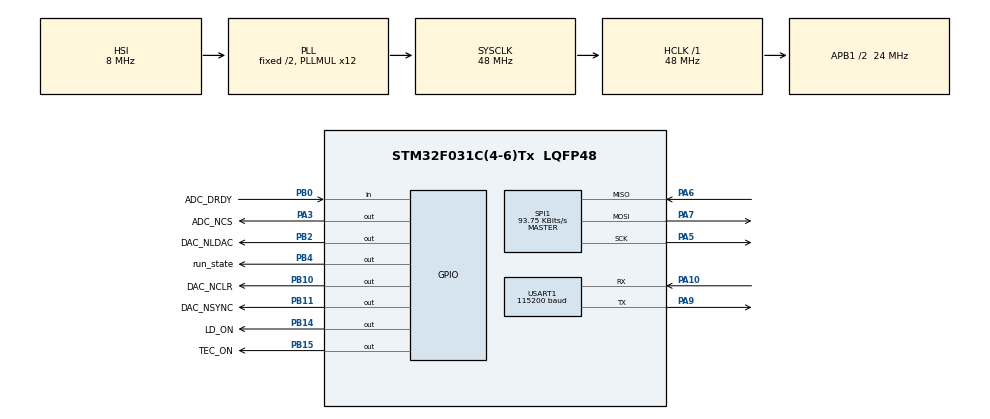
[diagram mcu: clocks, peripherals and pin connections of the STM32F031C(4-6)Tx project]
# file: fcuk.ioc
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Dma.Request0=USART1_RX
Dma.Request1=USART1_TX
Dma.USART1_RX.0.Direction=DMA_PERIPH_TO_MEMORY
Dma.USART1_RX.0.Instance=DMA1_Channel3
Dma.USART1_RX.0.MemDataAlignment=DMA_MDATAALIGN_BYTE
Dma.USART1_RX.0.MemInc=DMA_MINC_ENABLE
Dma.USART1_RX.0.Mode=DMA_NORMAL
Dma.USART1_RX.0.PeriphDataAlignment=DMA_PDATAALIGN_BYTE
Dma.USART1_RX.0.PeriphInc=DMA_PINC_DISABLE
Dma.USART1_RX.0.Priority=DMA_PRIORITY_LOW
Dma.USART1_TX.1.Direction=DMA_MEMORY_TO_PERIPH
Dma.USART1_TX.1.Instance=DMA1_Channel2
Dma.USART1_TX.1.MemDataAlignment=DMA_MDATAALIGN_BYTE
Dma.USART1_TX.1.MemInc=DMA_MINC_ENABLE
Dma.USART1_TX.1.Mode=DMA_NORMAL
Dma.USART1_TX.1.PeriphDataAlignment=DMA_PDATAALIGN_BYTE
Dma.USART1_TX.1.PeriphInc=DMA_PINC_DISABLE
Dma.USART1_TX.1.Priority=DMA_PRIORITY_LOW
Mcu.Family=STM32F0
Mcu.Name=STM32F031C(4-6)Tx
Mcu.Package=LQFP48
NVIC.DMA1_Channel2_3_IRQn=true\:0\:0\:false\:false\:true\:false\:true\:true
NVIC.TIM16_IRQn=true\:0\:0\:false\:false\:true\:true\:true\:true
NVIC.USART1_IRQn=true\:0\:0\:false\:false\:true\:true\:true\:true
PA10.Mode=Asynchronous
PA10.Signal=USART1_RX
PA13.Mode=Serial_Wire
PA13.Signal=SYS_SWDIO
PA14.Mode=Serial_Wire
PA14.Signal=SYS_SWCLK
PA3.GPIO_Label=ADC_NCS
PA3.GPIO_PuPd=GPIO_PULLUP
PA3.GPIO_Speed=GPIO_SPEED_FREQ_HIGH
PA3.PinState=GPIO_PIN_SET
PA3.Signal=GPIO_Output
PA5.Mode=Full_Duplex_Master
PA5.Signal=SPI1_SCK
PA6.Mode=Full_Duplex_Master
PA6.Signal=SPI1_MISO
PA7.Mode=Full_Duplex_Master
PA7.Signal=SPI1_MOSI
PA9.Mode=Asynchronous
PA9.Signal=USART1_TX
PB0.GPIO_Label=ADC_DRDY
PB0.GPIO_PuPd=GPIO_PULLUP
PB0.Signal=GPIO_Input
PB10.GPIO_Label=DAC_NCLR
PB10.GPIO_PuPd=GPIO_PULLUP
PB10.PinState=GPIO_PIN_SET
PB10.Signal=GPIO_Output
PB11.GPIO_Label=DAC_NSYNC
PB11.GPIO_PuPd=GPIO_PULLUP
PB11.GPIO_Speed=GPIO_SPEED_FREQ_HIGH
PB11.PinState=GPIO_PIN_SET
PB11.Signal=GPIO_Output
PB14.GPIO_Label=LD_ON
PB14.GPIO_PuPd=GPIO_NOPULL
PB14.Signal=GPIO_Output
PB15.GPIO_Label=TEC_ON
PB15.GPIO_PuPd=GPIO_NOPULL
PB15.Signal=GPIO_Output
PB2.GPIO_Label=DAC_NLDAC
PB2.GPIO_PuPd=GPIO_PULLUP
PB2.GPIO_Speed=GPIO_SPEED_FREQ_LOW
PB2.PinState=GPIO_PIN_SET
PB2.Signal=GPIO_Output
PB4.GPIO_Label=run_state
PB4.Signal=GPIO_Output
ProjectManager.HeapSize=0x200
ProjectManager.StackSize=0x400
ProjectManager.TargetToolchain=MDK-ARM V5.32
RCC.AHBFreq_Value=48000000
RCC.APB1CLKDivider=RCC_HCLK_DIV2
RCC.APB1Freq_Value=24000000
RCC.APB1TimFreq_Value=48000000
RCC.HCLKFreq_Value=48000000
RCC.PLLMUL=RCC_PLL_MUL12
RCC.SYSCLKFreq_VALUE=48000000
RCC.SYSCLKSource=RCC_SYSCLKSOURCE_PLLCLK
RCC.Usart1ClockSelection=RCC_USART1CLKSOURCE_SYSCLK
SPI1.BaudRatePrescaler=SPI_BAUDRATEPRESCALER_256
SPI1.CLKPhase=SPI_PHASE_2EDGE
SPI1.CalculateBaudRate=93.75 KBits/s
SPI1.DataSize=SPI_DATASIZE_8BIT
SPI1.Direction=SPI_DIRECTION_2LINES
SPI1.Mode=SPI_MODE_MASTER
SPI1.VirtualType=VM_MASTER
TIM16.Period=1000
TIM16.Prescaler=720
USART1.BaudRate=115200
USART1.VirtualMode-Asynchronous=VM_ASYNC
VP_TIM16_VS_ClockSourceINT.Mode=Enable_Timer
VP_TIM2_VS_ClockSourceINT.Mode=Internal
VP_TIM3_VS_ClockSourceINT.Mode=Internal
board=custom

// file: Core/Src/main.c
/* USER CODE BEGIN Header */
#define TEC_ON	HAL_GPIO_WritePin(GPIOB, GPIO_PIN_15, GPIO_PIN_SET)
#define LD_ON		HAL_GPIO_WritePin(GPIOB, GPIO_PIN_14, GPIO_PIN_SET)
#define TEC_OFF	HAL_GPIO_WritePin(GPIOB, GPIO_PIN_15, GPIO_PIN_RESET)
#define LD_OFF	HAL_GPIO_WritePin(GPIOB, GPIO_PIN_14, GPIO_PIN_RESET)
#define DMA_BUF_SIZE	512

/**
  ******************************************************************************
  * @file           : main.c
  * @brief          : Main program body
  ******************************************************************************
  * @attention
  *
  * Copyright (c) 2022 STMicroelectronics.
  * All rights reserved.
  *
  * This software is licensed under terms that can be found in the LICENSE file
  * in the root directory of this software component.
  * If no LICENSE file comes with this software, it is provided AS-IS.
  *
  ******************************************************************************
  */
/* USER CODE END Header */
#include "main.h"
#include "dma.h"
#include "spi.h"
#include "tim.h"
#include "usart.h"
#include "gpio.h"

/* USER CODE BEGIN Includes */
#include "ads1120.h"
#include "DAC8563.h"
/* USER CODE END Includes */

void SystemClock_Config(void);

/* USER CODE BEGIN 0 */
void uart_print(u8 data);
void LD_Init();

//协议命令定义,保持等长指令,�?后一位是校验�?
u8 cmd_len = 8;
u8 CMD_LD_OPEN[] 		 			= {0xEF, 0xEF, 0x03, 0xFF, 0x04, 0x00, 0x00, 0xE4};
u8 CMD_LD_OFF[]  		 			= {0xEF, 0xEF, 0x03, 0xFF, 0x05, 0x00, 0x00, 0xE5};
u8 CMD_LD_SET_CURR[] 			= {0xEF, 0xEF, 0x05, 0xFF, 0x00, 0x00, 0x00, 0xE4}; //第五位为设置值高八位，第六位为低八位
u8 CMD_LD_GET_CURR[] 			= {0xEF, 0xEF, 0x03, 0xFF, 0x01, 0x00, 0x00, 0xE1};
u8 CMD_LD_SET_TEMP[] 			= {0xEF, 0xEF, 0x04, 0xFF, 0x00, 0x00, 0x00, 0xE4};
u8 CMD_LD_GET_TEMP[] 			= {0xEF, 0xEF, 0x03, 0xFF, 0x02, 0x00, 0x00, 0xE2};
u8 CMD_LD_SET_CURR_MAX[] 	= {0xEF, 0xEF, 0x06, 0xFF, 0x00, 0x00, 0x00, 0xE4};	//设置�?大设置电�?
u8 CMD_LD_GET_PD1[]				= {0xEF, 0xEF, 0x03, 0xFF, 0x03, 0x00, 0x00, 0xE3};
u8 CMD_LD_GET_PD2[]				= {0xEF, 0xEF, 0x03, 0xFF, 0x06, 0x00, 0x00, 0xE6};

//返回值保持等�?
u8 return_len = 5;
u8 LD_OPEN_RETURN[] 					= {0xEF, 0x04, 0x01, 0x00, 0xEF};
u8 LD_OFF_RETURN[]  					= {0xEF, 0x05, 0x00, 0x00, 0xEF};
u8 LD_SET_CURR_RETURN[] 			= {0xEF, 0x00, 0x05, 0x00, 0xEF};	//第三位为设置状�??
u8 LD_SET_CURR_OF_RETURN[] 		= {0xEF, 0x00, 0x05, 0x01, 0xEF};	//超出�?大设置范�?
u8 LD_SET_CURR_NOTON_RETURN[] = {0xEF, 0x00, 0x05, 0xFF, 0xEF};	//LD没开
u8 LD_SET_TEMP_RETURN[] 			= {0xEF, 0x00, 0x04, 0x00, 0xEF};
u8 LD_GET_CURR_RETURN[] 			= {0xEF, 0x01, 0x00, 0x00, 0xEF};
u8 LD_GET_TEMP_RETURN[] 			= {0xEF, 0x02, 0x00, 0x00, 0xEF};
u8 LD_GET_PD1_RETURN[] 				= {0xEF, 0x03, 0x00, 0x00, 0xEF};
u8 LD_GET_PD2_RETURN[] 				= {0xEF, 0x06, 0x00, 0x00, 0xEF};
u8 LD_SET_MAXCUR_RETURN[]			=	{0xEF, 0x00, 0x06, 0x00, 0xEF};

u8 LD_SET_OUTMODE_RETURN[]		=	{0xEF, 0x07, 0x00, 0x00, 0xEF};
u8 LD_SET_PDSRC_RETURN[]			=	{0xEF, 0x08, 0x00, 0x00, 0xEF};
u8 LD_PD_ERR_RETURN[]					=	{0xEF, 0xFF, 0x00, 0x00, 0xEF};

u8 VALUE_RETURN[5];

// 变量定义
u8 	uart_revbuff[DMA_BUF_SIZE];
u32 rx_len;
u8 	rev_end_flag;
u8 	frame_tail;
u8 	i;
u16 temp_get, curr_get, curr_set, pd1_get, pd2_get;
u8 	value_high_8bit, value_low_8bit;

u8 output_update_en = 0;
u8 output_mode;

u8 pid_update;

u8 IS_ON = 0;
u16 max_cur;	//�?大设置电流，默认为最大，1.5A

//用于进入分支语句，处理不同的指令请求
const u8 get_cur 		= 0x01;
const u8 get_temp 	= 0x02;
const u8 ld_on 			= 0x04;
const u8 ld_off 		= 0x05;
const u8 set_value	= 0x00;
const u8 set_cur 		= 0x05;
const u8 set_maxcur = 0x06;
const u8 set_temp 	= 0x04;
const u8 get_pd1		=	0x03;
const u8 get_pd2		=	0x06;

const u8 out_mode_sel  	= 0x07;
const u8 pd_select  		= 0x08;

u8 send_test[1];

// ********  PID恒定功率输出   **********************
//结构体定�?
struct _pid{
	u16 SetValue;				//定义设定�?
	float ActualValue;		//定义实际�?
	float err;						//定义偏差�?
	float err_next;				//定义上一个偏差�??
	float err_last;				//定义�?上前的偏差�??
	u16 max_increment;	//�?大增�?
	u16 max_current; //目标�?大�??
	float Kp, Ki, Kd;			//定义比例、积分�?�微分系�?
	u16 err_div; //反馈量除系数
}pid;

// 实验参数，比�? = PD回读�?/设置电流�?
float	Ratio_pd_cur = 7.714;

// pid功能�?�?
u8 	pid_on = 0;

// 稳定值设�?
u16 pid_set_value = 1;
u16 pd_sample_init;

// 稳定模式选择
u8	mode_sel = 0;
const	u8	MODE_CONST_CUR 		= 0;
const	u8	MODE_CONST_PWR 		= 1;
const	u8	MODE_SAMPLE_HOLD 	= 2;

//	反馈源�?�择
const u8	PD_SEL_INT	= 0;
const u8	PD_SEL_EXT	= 1;
u8	PD_sel = PD_SEL_INT;

// 反馈源异常检�?
u16 pd_value_last, pd_value_pres;
u16 delta_pd_value;
u16 delta_threshold = 1000;
u8 pd_int_err, pd_ext_err; //pd异常标志�?
u8 curr_is_changed = 0;
u16 increment = 0;
u8 pid_zero_counter = 0;

// pid函数
void PD_SRC_ERR_DETECT(void);
void PID_init(void);
void PID_set_value(u16 set_value, u16 curr_set);
u16 PID_PD_feedback(u16 PD_value, u16 cur_set);
u16 PID_const_pw_output(u16 cur_set);

// ************************************************

// debug模式
u8 debug_mode = 0;
u16 dbg_curr;
u16 dbg_pd_int;
u16 dbg_pd_ext;
u8 dbg_curr_low;
u8 dbg_curr_high;
u8 dbg_pd_ext_low;
u8 dbg_pd_ext_high;
u8 dbg_pd_int_low;
u8 dbg_pd_int_high;
//debug模式返回�?
u8 DBG_CURR_RETURN[]	=	{0xAA, 0x55, 0x01, 0x00, 0x00};
u8 DBG_PD_INT_RETURN[]	=	{0xAA, 0x55, 0x02, 0x00, 0x00};
u8 DBG_PD_EXT_RETURN[]	=	{0xAA, 0x55, 0x03, 0x00, 0x00};
void DBG_RETURN(u8 sel);

/* USER CODE END 0 */

int main(void)
{
  /* USER CODE BEGIN 1 */

	u8 test;
  /* USER CODE END 1 */

  /* MCU Configuration--------------------------------------------------------*/

  /* Reset of all peripherals, Initializes the Flash interface and the Systick. */
  HAL_Init();

  /* Configure the system clock */
  SystemClock_Config();

  /* Initialize all configured peripherals */
  MX_GPIO_Init();
  MX_SPI1_Init();
  MX_TIM2_Init();
  MX_TIM3_Init();
  MX_DMA_Init();
  MX_USART1_UART_Init();
  MX_TIM16_Init();
  /* USER CODE BEGIN 2 */

	ADS1120_Init();
	HAL_Delay(1);
	DAC_INIT();
	HAL_Delay(1);
	u16 Vout;
	PID_init();
	LD_Init();

  /* USER CODE END 2 */

  /* Infinite loop */
  /* USER CODE BEGIN WHILE */
  while (1)
  {
		//if(debug_mode) DBG_RETURN(); // debug模式返回

		//curr_get = GET_LD_CURR();
    if(rev_end_flag)
		{
			// ========== 进入debug模式使用，调节pid参数 =========================
			if(uart_revbuff[0] == 0x55 && uart_revbuff[1] == 0xaa)
			{
				if(uart_revbuff[2] == 1)debug_mode = 1;
				else if(uart_revbuff[2] == 0)debug_mode = 0;
				switch(uart_revbuff[2])
					{
						case 0x02:
							pid.Kp = (float)(uart_revbuff[3]*256 + uart_revbuff[4])/1000;
							break;
						case 0x03:
							pid.Ki = (float)(uart_revbuff[3]*256 + uart_revbuff[4])/1000;
							break;
						case 0x04:
							pid.Kd = (float)(uart_revbuff[3]*256 + uart_revbuff[4])/1000;
							break;
						case 0x05:
							pid.err_div = uart_revbuff[3];
							break;
						default: break;
					}
			}
			//===================================================================
			//提示信号收发

			if(uart_revbuff[0] == 0xef && uart_revbuff[1] == 0xef)	//帧头校验
			{
				for(i = 0; i<rx_len-1; i++)										//获取帧尾
				{
					frame_tail = frame_tail + uart_revbuff[i];
				}
				if(frame_tail == uart_revbuff[rx_len-1])			//帧尾校验
				{
					//rev_end_flag = 0;	//标志位置�?
					switch(uart_revbuff[4])
					{
						case get_cur:
							curr_get = GET_LD_CURR();
							value_low_8bit  = curr_get & 0xff;
							value_high_8bit = (curr_get>>8) & 0xff;

							LD_GET_CURR_RETURN[2] = value_high_8bit;
							LD_GET_CURR_RETURN[3] = value_low_8bit;
							HAL_UART_Transmit_DMA(&huart1, LD_GET_CURR_RETURN, return_len);
							break;

						case get_temp:
							temp_get = GET_LD_TEMP();
							value_low_8bit  = temp_get & 0xff;
							value_high_8bit = (temp_get>>8) & 0xff;
							LD_GET_TEMP_RETURN[2] = value_high_8bit;
							LD_GET_TEMP_RETURN[3] = value_low_8bit;

							HAL_UART_Transmit_DMA(&huart1, LD_GET_TEMP_RETURN, return_len);
							break;

						case get_pd1:
							pd1_get = GET_LD_PD_internal();
							value_low_8bit  = pd1_get & 0xff;
							value_high_8bit = (pd1_get>>8) & 0xff;
							LD_GET_PD1_RETURN[2] = value_high_8bit;
							LD_GET_PD1_RETURN[3] = value_low_8bit;
							HAL_UART_Transmit_DMA(&huart1, LD_GET_PD1_RETURN, return_len);
							break;

						case get_pd2:
							pd2_get = GET_LD_PD_external();
							value_low_8bit  = pd2_get & 0xff;
							value_high_8bit = (pd2_get>>8) & 0xff;
							LD_GET_PD2_RETURN[2] = value_high_8bit;
							LD_GET_PD2_RETURN[3] = value_low_8bit;

							HAL_UART_Transmit_DMA(&huart1, LD_GET_PD2_RETURN, return_len);
							break;

						case ld_on:
							LD_ON;
							TEC_ON;
							HAL_GPIO_WritePin(run_state_GPIO_Port, run_state_Pin, GPIO_PIN_SET);
							IS_ON = 1;
							Vout = 0x0000;
							DAC_Set_Voltage(Vout, ADDR_DAC_A);
							HAL_UART_Transmit_DMA(&huart1, LD_OPEN_RETURN, return_len);
							break;

						case ld_off:
							DAC_Set_Current(0x0000, ADDR_DAC_A);
							LD_OFF;
							IS_ON = 0;
							HAL_GPIO_WritePin(run_state_GPIO_Port, run_state_Pin, GPIO_PIN_RESET);

							HAL_UART_Transmit_DMA(&huart1, LD_OFF_RETURN, return_len);
							break;

						case pd_select:
							PD_sel = uart_revbuff[6];
							LD_SET_PDSRC_RETURN[3] = PD_sel;
							LD_PD_ERR_RETURN[3] = PD_sel;
							// �?测所选pd是否异常
							if(pd_ext_err == 1 && PD_sel == PD_SEL_EXT)
							{
								HAL_UART_Transmit_DMA(&huart1, LD_PD_ERR_RETURN, return_len);
							}
							else if(pd_int_err == 1 && PD_sel == PD_SEL_INT)
							{
								HAL_UART_Transmit_DMA(&huart1, LD_PD_ERR_RETURN, return_len);
							}
							else HAL_UART_Transmit_DMA(&huart1, LD_SET_PDSRC_RETURN, return_len);
							break;

						case out_mode_sel:
							mode_sel = uart_revbuff[6];
							if(mode_sel != MODE_CONST_CUR)
							{
								HAL_TIM_Base_Start_IT(&htim16);
								pid_on = 1;
							}
							else
							{
								pid_on = 0;
								HAL_TIM_Base_Stop_IT(&htim16);
							}
							LD_SET_OUTMODE_RETURN[3] = mode_sel;
							HAL_UART_Transmit_DMA(&huart1, LD_SET_OUTMODE_RETURN, return_len);

							break;

						case set_value:
							switch(uart_revbuff[2])
							{
								case set_temp://设置温度
									break;

								case set_cur://设置电流
									if(IS_ON)
									{
										curr_set = uart_revbuff[5];									//设置值高字节
										curr_set = (curr_set<<8) | uart_revbuff[6];	//设置值低字节
										if(curr_set > max_cur) //	�?大设置�?�判�?
										{
											HAL_UART_Transmit_DMA(&huart1, LD_SET_CURR_OF_RETURN, return_len);
											break;
										}

										output_update_en = 1;			//重新设定pid目标�?
										curr_is_changed = 1;			// flag for pd error detection
										DAC_Set_Current(curr_set>>1, ADDR_DAC_A);
										HAL_UART_Transmit_DMA(&huart1, LD_SET_CURR_RETURN, return_len);
										break;
									}
									else
									{
										HAL_UART_Transmit_DMA(&huart1, LD_SET_CURR_NOTON_RETURN, return_len);
										break;
									}

								case set_maxcur:
									max_cur = uart_revbuff[5];									//设置值高字节
									max_cur = (max_cur<<8) | uart_revbuff[6];	  //设置值低字节
									HAL_UART_Transmit_DMA(&huart1, LD_SET_MAXCUR_RETURN, return_len);
									break;
								default:break;

							}
							break;
						default:
							break;
					}
				}
				else
				{
					frame_tail = 0;
					rev_end_flag = 0;
				}
			}
			else
			{
				frame_tail = 0;
				rev_end_flag = 0;
			}
			//重新�?始dma传输
			HAL_UART_Receive_DMA(&huart1, uart_revbuff, DMA_BUF_SIZE);
		}

		// ============ 输出模式选择：恒电流/恒功�?/采样保持 ========================
		if(pid_on)
		{
				// 棿测异常pd
			PD_SRC_ERR_DETECT();
			pd_value_pres = (PD_sel == PD_SEL_INT) ? GET_LD_PD_internal() : GET_LD_PD_external();
			// 更新设置�?
			if(output_update_en)
			{
				//DAC_Set_Voltage(curr_set, ADDR_DAC_A);
				pd_value_pres = (PD_sel == PD_SEL_INT) ? GET_LD_PD_internal() : GET_LD_PD_external();
				switch(mode_sel)
				{
					case MODE_CONST_PWR:
						pid_set_value = (u16)(curr_set * Ratio_pd_cur);
						PID_set_value(pid_set_value, curr_set);
						output_update_en = 0;
						break;
					case MODE_SAMPLE_HOLD:
						pid_set_value = pd_value_pres;
						PID_set_value(pid_set_value, curr_set);
						output_update_en = 0;
						break;
					default:
						output_update_en = 0;
						break;
				}
			}
			else if(pid_update)
			{
				pid_update = 0;
				pd_value_last = pd_value_pres;
				pd_value_pres = (PD_sel == PD_SEL_INT) ? GET_LD_PD_internal() : GET_LD_PD_external();

//				// zero detection
//				if(pd_value_pres<0x1F)
//				{
//					pid_zero_counter++;
//				}
//				if(pid_zero_counter>10)
//				{
//					// no pd feedback
//					HAL_TIM_Base_Stop_IT(&htim16);
//					pid_on = 0;
//					pid_update = 0;
//					pid_zero_counter = 0;
//				}

				// 恒功率输�?,每次循环均调整电流输出�??;集成pd异常�?�?
				increment = PID_PD_feedback(pd_value_pres, curr_set);
				curr_set = ((increment&0xC000) != 0) ? (curr_set - 0xffff + increment) : curr_set + increment;

				if(curr_set > pid.max_current)
				{
					curr_set = pid.max_current;
				}
				DAC_Set_Voltage(curr_set>>1, ADDR_DAC_A);
			}

		}
		// ======================================================================================

    /* USER CODE END WHILE */

  }
}

void SystemClock_Config(void)
{
  RCC_OscInitTypeDef RCC_OscInitStruct = {0};
  RCC_ClkInitTypeDef RCC_ClkInitStruct = {0};
  RCC_PeriphCLKInitTypeDef PeriphClkInit = {0};

  /** Initializes the RCC Oscillators according to the specified parameters
  * in the RCC_OscInitTypeDef structure.
  */
  RCC_OscInitStruct.OscillatorType = RCC_OSCILLATORTYPE_HSI;
  RCC_OscInitStruct.HSIState = RCC_HSI_ON;
  RCC_OscInitStruct.HSICalibrationValue = RCC_HSICALIBRATION_DEFAULT;
  RCC_OscInitStruct.PLL.PLLState = RCC_PLL_ON;
  RCC_OscInitStruct.PLL.PLLSource = RCC_PLLSOURCE_HSI;
  RCC_OscInitStruct.PLL.PLLMUL = RCC_PLL_MUL12;
  RCC_OscInitStruct.PLL.PREDIV = RCC_PREDIV_DIV1;
  if (HAL_RCC_OscConfig(&RCC_OscInitStruct) != HAL_OK)
  {
    Error_Handler();
  }

  /** Initializes the CPU, AHB and APB buses clocks
  */
  RCC_ClkInitStruct.ClockType = RCC_CLOCKTYPE_HCLK|RCC_CLOCKTYPE_SYSCLK
                              |RCC_CLOCKTYPE_PCLK1;
  RCC_ClkInitStruct.SYSCLKSource = RCC_SYSCLKSOURCE_PLLCLK;
  RCC_ClkInitStruct.AHBCLKDivider = RCC_SYSCLK_DIV1;
  RCC_ClkInitStruct.APB1CLKDivider = RCC_HCLK_DIV2;

  if (HAL_RCC_ClockConfig(&RCC_ClkInitStruct, FLASH_LATENCY_1) != HAL_OK)
  {
    Error_Handler();
  }
  PeriphClkInit.PeriphClockSelection = RCC_PERIPHCLK_USART1;
  PeriphClkInit.Usart1ClockSelection = RCC_USART1CLKSOURCE_SYSCLK;
  if (HAL_RCCEx_PeriphCLKConfig(&PeriphClkInit) != HAL_OK)
  {
    Error_Handler();
  }
}

/* USER CODE BEGIN 4 */
void LD_Init(){

	u16 Init_Cur, Init_Temp;
	Init_Cur = 0x0000;
	Init_Temp = 0x7fff;
	LD_OFF;
	TEC_ON;
	DAC_Set_Voltage(Init_Cur, ADDR_DAC_A);
	DAC_Set_Voltage(Init_Temp, ADDR_DAC_B);
	max_cur = 0xFFFF; //限制�?大电�?
}

void uart_print(u8 data){
	u8* send;
	*send = data;
	HAL_UART_Transmit(&huart1, send, 1, 1000);
}

//**********  PID恒定功率输出函数实现 *************************************
// PID 初始�?
void PID_init(){
	pid.SetValue		= 0;
	pid.ActualValue	= 0;
	pid.err					= 0;
	pid.err_last		=	0;
	pid.err_next		=	0;
	pid.Kp					=	0.2;
	pid.Ki					=	0.00000001;
	pid.Kd					=	0.00000001;
	pid.max_increment		= 40;
	pid.max_current	=	0;
	pid.err_div     = 4;
};

// 确定设置�?
void PID_set_value(u16 set_value, u16 curr_set)
{
	pid.SetValue 				= set_value;
	pid.max_current			=	curr_set + 0x1999;
}

// 获取反馈量并调整电流设置�?

u16 PID_PD_feedback(u16 PD_value, u16 cur_set){
	//u16 cur_update = 0x00;
	float incrementValue, dest_value;
	//unsigned int test;
	pid.ActualValue	=	PD_value;
	pid.err 				= (pid.SetValue - pid.ActualValue)/pid.err_div;
  incrementValue 	= pid.Kp*pid.err + pid.Ki*(pid.err+pid.err_next+pid.err_last) + pid.Kd*(pid.err - 2 * pid.err_next + pid.err_last);//计算出增�?
	dest_value			=	cur_set + incrementValue;

	if(incrementValue > pid.max_increment)
	{
		incrementValue = pid.max_increment;
	}
	else if(-incrementValue > (pid.max_increment))
	{
		incrementValue = 0 - pid.max_increment;
	}
	else
	{
		incrementValue = incrementValue;
	}

	pid.err_last 		= pid.err_next;
	pid.err_next 		= pid.err;
	return incrementValue;
}

// PID恒定功率输出实现
u16 PID_const_pw_output(u16 cur_set)
{
	u16 PD_value;
	u16 cur_update;
	PD_value 				= (PD_sel == PD_SEL_INT) ? GET_LD_PD_internal() : GET_LD_PD_external();
	cur_update 				=	PID_PD_feedback(PD_value, cur_set);
	// 设置新电流�??
	//DAC_Set_Current(cur_update, ADDR_DAC_A);
	return cur_update;
}

// PD反馈源异常检�? + 自动切换反馈�?
void PD_SRC_ERR_DETECT(void)
{
		pd_value_pres = (PD_sel == PD_SEL_INT) ? GET_LD_PD_internal() : GET_LD_PD_external();

		if(curr_is_changed)
		{
			curr_is_changed = 0;
			pd_value_last = pd_value_pres;
			return;
		}
		else
		{
			delta_pd_value = (pd_value_last > pd_value_pres) ? (pd_value_last-pd_value_pres) : (pd_value_pres-pd_value_last) ;
		}

		if(delta_pd_value > delta_threshold)	//�?测到异常
		{
			if(PD_sel == PD_SEL_EXT) pd_ext_err = 1;
			else pd_int_err = 1;

			LD_PD_ERR_RETURN[3] = PD_sel;
			HAL_UART_Transmit_DMA(&huart1, LD_PD_ERR_RETURN, return_len);

			pid_on = 0;																// 若反馈源寄则关闭pid
			mode_sel = MODE_CONST_CUR;								// 设置为恒电流模式
			DAC_Set_Current(curr_set, ADDR_DAC_A); 		// 将当前电流�?�作为输出�??
		}

		pd_value_last = pd_value_pres;
}
//***************************************************************************

// *************************** debug模式，返回下位机数据 ******************************
void DBG_RETURN(u8 sel)
{
	dbg_curr = GET_LD_CURR();
	dbg_pd_ext = GET_LD_PD_external();
	dbg_pd_int = GET_LD_PD_internal();

	dbg_curr_low = dbg_curr & 0xff;
	dbg_curr_high = (dbg_curr>>8) & 0xff;
	DBG_CURR_RETURN[3] = dbg_curr_high;
	DBG_CURR_RETURN[4] = dbg_curr_low;

	dbg_pd_int_low = dbg_pd_int & 0xff;
	dbg_pd_int_high = (dbg_pd_int>>8) & 0xff;
	DBG_PD_INT_RETURN[3] = dbg_pd_int_high;
	DBG_PD_INT_RETURN[4] = dbg_pd_int_low;

	dbg_pd_ext_low = dbg_pd_ext & 0xff;
	dbg_pd_ext_high = (dbg_pd_ext>>8) & 0xff;
	DBG_PD_EXT_RETURN[3] = dbg_pd_ext_high;
	DBG_PD_EXT_RETURN[4] = dbg_pd_ext_low;

	switch(sel)
	{
		case 0x07:
			HAL_UART_Transmit_DMA(&huart1, DBG_CURR_RETURN, 5);
			break;
		case 0x08:
			HAL_UART_Transmit_DMA(&huart1, DBG_PD_INT_RETURN, 5);
			break;
		case 0x09:
			HAL_UART_Transmit_DMA(&huart1, DBG_PD_EXT_RETURN, 5);
			break;
		default:break;
	}

}

// 可进行代码复�?
//void DBG_LOAD_DATA(u16 value, u8*data_return)
//{
//	u8 low, high;
//	dbg_curr_low = dbg_curr & 0xff;
//	dbg_curr_high = (dbg_curr>>8) & 0xff;
//	DBG_CURR_RETURN[3] = high;
//	DBG_CURR_RETURN[4] = low;
//}
// ***********************************************************************************
/* USER CODE END 4 */

void Error_Handler(void)
{
  __disable_irq();
  while (1)
  {
  }
}
